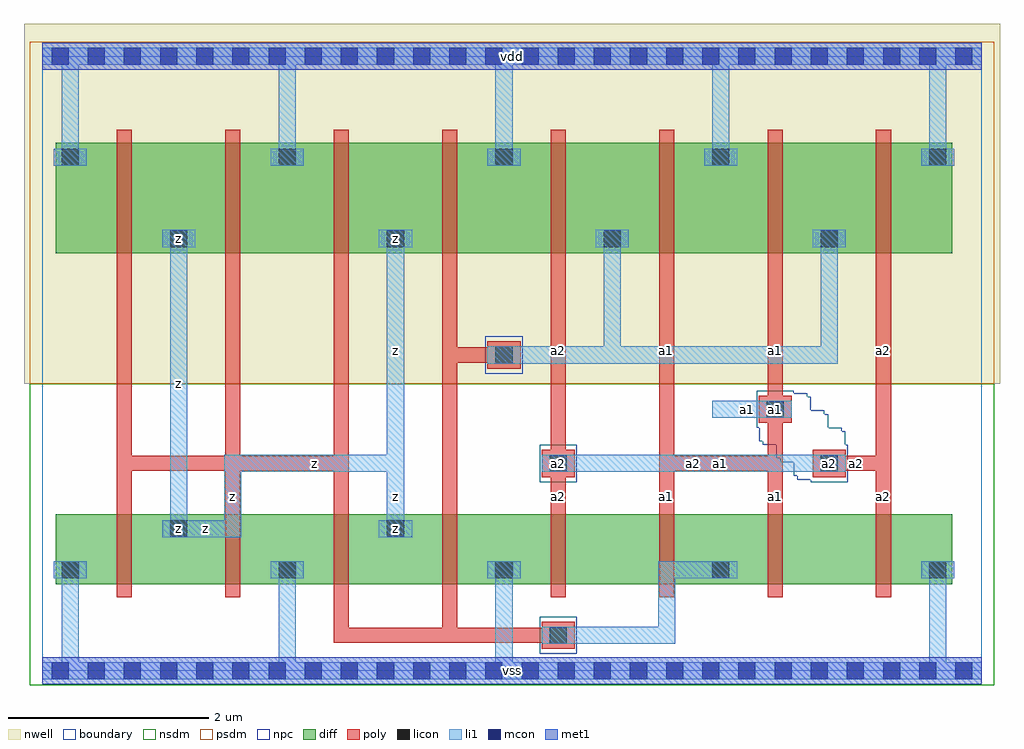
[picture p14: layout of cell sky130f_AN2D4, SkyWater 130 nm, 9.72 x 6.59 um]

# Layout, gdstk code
import gdstk
lib = gdstk.Library(unit=1e-6, precision=1e-09)
def R(c, l, rs):  # rectangles x0, y0, x1, y1
    for r in rs: c.add(gdstk.rectangle(r[:2], r[2:], *l))
def A(c, l, x, y, w, h, nx, ny, dx, dy):  # array of equal rectangles
    R(c, l, [(x+i*dx, y+j*dy, x+i*dx+w, y+j*dy+h) for i in range(nx) for j in range(ny)])
def P(c, l, *ps):  # polygons
    for p in ps: c.add(gdstk.Polygon(p, *l))
L0_0 = (0, 0)
nwell = (64, 20)
diff = (65, 20)
poly = (66, 20)
licon = (66, 44)
li1 = (67, 20)
mcon = (67, 44)
met1 = (68, 20)
nsdm = (93, 44)
psdm = (94, 20)
npc = (95, 20)
boundary = (235, 4)

sky130f_an2d4 = lib.new_cell('sky130f_AN2D4')
R(sky130f_an2d4, nwell, [(-0.18,2.86,9.54,6.445)])
A(sky130f_an2d4, diff, 0.135, 0.86, 1.37, 0.7, 8, 1, 1.08, 0)
A(sky130f_an2d4, diff, 0.135, 0.86, 0.29, 0.29, 5, 2, 2.16, 4.11)
A(sky130f_an2d4, diff, 0.135, 4.16, 1.37, 1.1, 8, 1, 1.08, 0)
A(sky130f_an2d4, diff, 1.215, 4.16, 0.29, 0.29, 4, 1, 2.16, 0)
R(sky130f_an2d4, diff, [(1.215,1.27,1.505,1.56), (3.375,1.27,3.665,1.56)])
A(sky130f_an2d4, poly, 0.745, 0.73, 0.15, 0.96, 8, 1, 1.08, 0)
A(sky130f_an2d4, poly, 5.065, 1.34, 0.15, 0.8, 4, 1, 1.08, 0)
A(sky130f_an2d4, poly, 0.745, 1.99, 0.15, 2.39, 3, 1, 1.08, 0)
A(sky130f_an2d4, poly, 5.065, 1.99, 0.15, 2.39, 4, 1, 1.08, 0)
A(sky130f_an2d4, poly, 0.745, 4.03, 0.15, 1.36, 8, 1, 1.08, 0)
R(sky130f_an2d4, poly, [(4.975,0.22,5.305,0.49), (2.905,0.28,5.215,0.43), (2.905,0.28,3.055,2.14), (2.905,0.28,3.055,1.08), (3.985,0.28,4.135,1.08), (3.985,0.93,4.135,4.38), (0.745,1.34,0.895,2.14), (1.825,1.34,1.975,2.14), (4.975,1.93,5.305,2.2), (7.675,1.93,8.005,2.2), (0.745,1.99,3.055,2.14), (6.145,1.99,7.375,2.14), (7.765,1.99,8.455,2.14), (7.135,2.47,7.465,2.74), (4.435,3.01,4.765,3.28), (3.985,3.07,4.675,3.22)])
A(sky130f_an2d4, licon, 0.195, 0.92, 0.17, 0.17, 5, 2, 2.16, 4.11)
A(sky130f_an2d4, licon, 1.275, 4.22, 0.17, 0.17, 4, 1, 2.16, 0)
R(sky130f_an2d4, licon, [(5.055,0.27,5.225,0.44), (1.275,1.33,1.445,1.5), (3.435,1.33,3.605,1.5), (5.055,1.98,5.225,2.15), (7.755,1.98,7.925,2.15), (7.215,2.52,7.385,2.69), (4.515,3.06,4.685,3.23)])
A(sky130f_an2d4, li1, 0.195, 0.06, 0.17, 1.03, 3, 1, 2.16, 0)
A(sky130f_an2d4, li1, 0.115, 0.92, 0.33, 0.17, 5, 2, 2.16, 4.11)
A(sky130f_an2d4, li1, 1.195, 4.22, 0.33, 0.17, 4, 1, 2.16, 0)
A(sky130f_an2d4, li1, 0.195, 5.03, 0.17, 1.03, 5, 1, 2.16, 0)
R(sky130f_an2d4, li1, [(0,-0.085,9.36,0.085), (8.835,0.06,9.005,1.09), (4.975,0.27,5.305,0.44), (5.055,0.27,6.305,0.44), (6.135,0.27,6.305,1.09), (6.135,0.92,6.845,1.09), (1.195,1.33,1.525,1.5), (1.275,1.33,1.985,1.5), (1.275,1.33,1.445,4.39), (1.815,1.33,1.985,2.15), (3.355,1.33,3.685,1.5), (3.435,1.33,3.605,2.15), (1.815,1.98,3.605,2.15), (3.435,1.98,3.605,4.39), (4.975,1.98,5.305,2.15), (5.055,1.98,7.925,2.15), (7.675,1.98,8.005,2.15), (6.675,2.52,7.385,2.69), (7.135,2.52,7.465,2.69), (4.435,3.06,4.765,3.23), (4.515,3.06,7.925,3.23), (5.595,3.06,5.765,4.39), (7.755,3.06,7.925,4.39), (0,6.035,9.36,6.205)])
A(sky130f_an2d4, mcon, 0.095, -0.085, 0.17, 0.17, 26, 2, 0.36, 6.12)
R(sky130f_an2d4, met1, [(0,-0.135,9.36,0.135), (0,5.985,9.36,6.255)])
R(sky130f_an2d4, nsdm, [(-0.125,-0.145,9.485,0.145), (-0.125,0.145,9.485,2.86)])
R(sky130f_an2d4, psdm, [(-0.125,2.86,9.485,5.975), (-0.125,5.975,9.485,6.265)])
R(sky130f_an2d4, npc, [(4.955,0.17,5.325,0.54), (4.955,1.88,5.325,2.25), (4.415,2.96,4.785,3.33)])
P(sky130f_an2d4, npc, [(7.655,1.88),(7.655,1.905),(7.52,1.905),(7.52,1.94),(7.485,1.94),(7.485,2.075),(7.35,2.075),(7.35,2.115),(7.31,2.115),(7.31,2.25),(7.175,2.25),(7.175,2.285),(7.14,2.285),(7.14,2.42),(7.115,2.42),(7.115,2.79),(7.485,2.79),(7.485,2.765),(7.62,2.765),(7.62,2.73),(7.655,2.73),(7.655,2.595),(7.79,2.595),(7.79,2.555),(7.83,2.555),(7.83,2.42),(7.965,2.42),(7.965,2.385),(8,2.385),(8,2.25),(8.025,2.25),(8.025,1.88)])
R(sky130f_an2d4, boundary, [(0,0,9.36,6.12)])
sky130f_an2d4.add(gdstk.FlexPath([(0.115,0.355),(9.085,0.355)], 0, ends="flush", simple_path=True, layer=0, datatype=0))  # L0_0
sky130f_an2d4.add(gdstk.FlexPath([(0.115,1.005),(9.085,1.005)], 0, ends="flush", simple_path=True, layer=0, datatype=0))  # L0_0
sky130f_an2d4.add(gdstk.FlexPath([(0.115,1.415),(9.085,1.415)], 0, ends="flush", simple_path=True, layer=0, datatype=0))  # L0_0
sky130f_an2d4.add(gdstk.FlexPath([(0.115,2.065),(9.085,2.065)], 0, ends="flush", simple_path=True, layer=0, datatype=0))  # L0_0
sky130f_an2d4.add(gdstk.FlexPath([(0.115,2.605),(9.085,2.605)], 0, ends="flush", simple_path=True, layer=0, datatype=0))  # L0_0
sky130f_an2d4.add(gdstk.FlexPath([(0.115,3.145),(9.085,3.145)], 0, ends="flush", simple_path=True, layer=0, datatype=0))  # L0_0
sky130f_an2d4.add(gdstk.FlexPath([(0.115,4.305),(9.085,4.305)], 0, ends="flush", simple_path=True, layer=0, datatype=0))  # L0_0
sky130f_an2d4.add(gdstk.FlexPath([(0.115,4.775),(9.085,4.775)], 0, ends="flush", simple_path=True, layer=0, datatype=0))  # L0_0
sky130f_an2d4.add(gdstk.FlexPath([(0.115,5.115),(9.085,5.115)], 0, ends="flush", simple_path=True, layer=0, datatype=0))  # L0_0
sky130f_an2d4.add(gdstk.FlexPath([(0.115,5.765),(9.085,5.765)], 0, ends="flush", simple_path=True, layer=0, datatype=0))  # L0_0
sky130f_an2d4.add(gdstk.FlexPath([(0.28,0.06),(0.28,6.06)], 0, ends="flush", simple_path=True, layer=0, datatype=0))  # L0_0
sky130f_an2d4.add(gdstk.FlexPath([(0.82,0.06),(0.82,6.06)], 0, ends="flush", simple_path=True, layer=0, datatype=0))  # L0_0
sky130f_an2d4.add(gdstk.FlexPath([(1.36,0.06),(1.36,6.06)], 0, ends="flush", simple_path=True, layer=0, datatype=0))  # L0_0
sky130f_an2d4.add(gdstk.FlexPath([(1.9,0.06),(1.9,6.06)], 0, ends="flush", simple_path=True, layer=0, datatype=0))  # L0_0
sky130f_an2d4.add(gdstk.FlexPath([(2.44,0.06),(2.44,6.06)], 0, ends="flush", simple_path=True, layer=0, datatype=0))  # L0_0
sky130f_an2d4.add(gdstk.FlexPath([(2.98,0.06),(2.98,6.06)], 0, ends="flush", simple_path=True, layer=0, datatype=0))  # L0_0
sky130f_an2d4.add(gdstk.FlexPath([(3.52,0.06),(3.52,6.06)], 0, ends="flush", simple_path=True, layer=0, datatype=0))  # L0_0
sky130f_an2d4.add(gdstk.FlexPath([(4.06,0.06),(4.06,6.06)], 0, ends="flush", simple_path=True, layer=0, datatype=0))  # L0_0
sky130f_an2d4.add(gdstk.FlexPath([(4.6,0.06),(4.6,6.06)], 0, ends="flush", simple_path=True, layer=0, datatype=0))  # L0_0
sky130f_an2d4.add(gdstk.FlexPath([(5.14,0.06),(5.14,6.06)], 0, ends="flush", simple_path=True, layer=0, datatype=0))  # L0_0
sky130f_an2d4.add(gdstk.FlexPath([(5.68,0.06),(5.68,6.06)], 0, ends="flush", simple_path=True, layer=0, datatype=0))  # L0_0
sky130f_an2d4.add(gdstk.FlexPath([(6.22,0.06),(6.22,6.06)], 0, ends="flush", simple_path=True, layer=0, datatype=0))  # L0_0
sky130f_an2d4.add(gdstk.FlexPath([(6.76,0.06),(6.76,6.06)], 0, ends="flush", simple_path=True, layer=0, datatype=0))  # L0_0
sky130f_an2d4.add(gdstk.FlexPath([(7.3,0.06),(7.3,6.06)], 0, ends="flush", simple_path=True, layer=0, datatype=0))  # L0_0
sky130f_an2d4.add(gdstk.FlexPath([(7.84,0.06),(7.84,6.06)], 0, ends="flush", simple_path=True, layer=0, datatype=0))  # L0_0
sky130f_an2d4.add(gdstk.FlexPath([(8.38,0.06),(8.38,6.06)], 0, ends="flush", simple_path=True, layer=0, datatype=0))  # L0_0
sky130f_an2d4.add(gdstk.FlexPath([(8.92,0.06),(8.92,6.06)], 0, ends="flush", simple_path=True, layer=0, datatype=0))  # L0_0
sky130f_an2d4.add(gdstk.Label('z', (1.36,1.415), layer=65, texttype=20))
sky130f_an2d4.add(gdstk.Label('z', (3.52,1.415), layer=65, texttype=20))
sky130f_an2d4.add(gdstk.Label('z', (3.52,4.305), layer=65, texttype=20))
sky130f_an2d4.add(gdstk.Label('z', (1.36,4.305), layer=65, texttype=20))
sky130f_an2d4.add(gdstk.Label('a1', (7.3,1.74), layer=66, texttype=20))
sky130f_an2d4.add(gdstk.Label('a1', (6.76,2.065), layer=66, texttype=20))
sky130f_an2d4.add(gdstk.Label('a1', (6.22,1.74), layer=66, texttype=20))
sky130f_an2d4.add(gdstk.Label('a1', (7.3,3.185), layer=66, texttype=20))
sky130f_an2d4.add(gdstk.Label('a1', (6.22,3.185), layer=66, texttype=20))
sky130f_an2d4.add(gdstk.Label('a1', (7.3,2.605), layer=66, texttype=20))
sky130f_an2d4.add(gdstk.Label('a2', (8.38,1.74), layer=66, texttype=20))
sky130f_an2d4.add(gdstk.Label('a2', (8.11,2.065), layer=66, texttype=20))
sky130f_an2d4.add(gdstk.Label('a2', (7.84,2.065), layer=66, texttype=20))
sky130f_an2d4.add(gdstk.Label('a2', (5.14,2.065), layer=66, texttype=20))
sky130f_an2d4.add(gdstk.Label('a2', (5.14,1.74), layer=66, texttype=20))
sky130f_an2d4.add(gdstk.Label('a2', (8.38,3.185), layer=66, texttype=20))
sky130f_an2d4.add(gdstk.Label('a2', (5.14,3.185), layer=66, texttype=20))
sky130f_an2d4.add(gdstk.Label('z', (1.36,1.415), layer=66, texttype=44))
sky130f_an2d4.add(gdstk.Label('z', (3.52,1.415), layer=66, texttype=44))
sky130f_an2d4.add(gdstk.Label('z', (3.52,4.305), layer=66, texttype=44))
sky130f_an2d4.add(gdstk.Label('z', (1.36,4.305), layer=66, texttype=44))
sky130f_an2d4.add(gdstk.Label('a1', (7.3,2.605), layer=66, texttype=44))
sky130f_an2d4.add(gdstk.Label('a2', (7.84,2.065), layer=66, texttype=44))
sky130f_an2d4.add(gdstk.Label('a2', (5.14,2.065), layer=66, texttype=44))
sky130f_an2d4.add(gdstk.Label('a1', (7.3,2.605), layer=67, texttype=5))
sky130f_an2d4.add(gdstk.Label('a1', (7.03,2.605), layer=67, texttype=5))
sky130f_an2d4.add(gdstk.Label('z', (1.36,1.415), layer=67, texttype=5))
sky130f_an2d4.add(gdstk.Label('z', (3.52,1.415), layer=67, texttype=5))
sky130f_an2d4.add(gdstk.Label('z', (3.52,4.305), layer=67, texttype=5))
sky130f_an2d4.add(gdstk.Label('z', (1.36,4.305), layer=67, texttype=5))
sky130f_an2d4.add(gdstk.Label('z', (1.63,1.415), layer=67, texttype=5))
sky130f_an2d4.add(gdstk.Label('z', (1.9,1.74), layer=67, texttype=5))
sky130f_an2d4.add(gdstk.Label('z', (2.71,2.065), layer=67, texttype=5))
sky130f_an2d4.add(gdstk.Label('z', (3.52,1.74), layer=67, texttype=5))
sky130f_an2d4.add(gdstk.Label('z', (3.52,3.185), layer=67, texttype=5))
sky130f_an2d4.add(gdstk.Label('z', (1.36,2.86), layer=67, texttype=5))
sky130f_an2d4.add(gdstk.Label('a2', (7.84,2.065), layer=67, texttype=5))
sky130f_an2d4.add(gdstk.Label('a2', (6.49,2.065), layer=67, texttype=5))
sky130f_an2d4.add(gdstk.Label('a2', (5.14,2.065), layer=67, texttype=5))
sky130f_an2d4.add(gdstk.Label('vss', (4.68,0), layer=67, texttype=5))
sky130f_an2d4.add(gdstk.Label('vdd', (4.68,6.12), layer=67, texttype=5))
sky130f_an2d4.add(gdstk.Label('vss', (4.68,0), layer=68, texttype=5))
sky130f_an2d4.add(gdstk.Label('vdd', (4.68,6.12), layer=68, texttype=5))

lib.write_gds('sky130f_AN2D4.gds')
